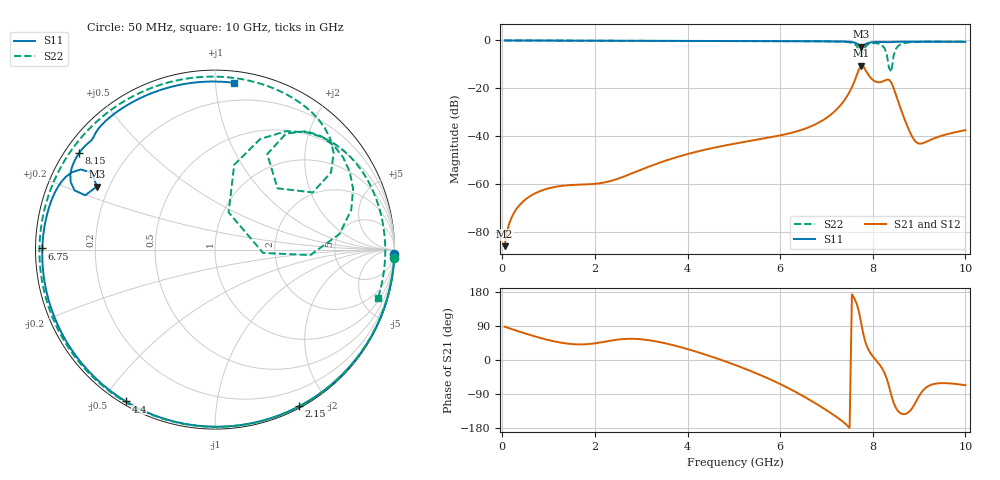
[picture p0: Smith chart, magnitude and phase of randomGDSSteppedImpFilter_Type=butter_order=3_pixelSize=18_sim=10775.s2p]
! freq	dB(S11)	phase(S11)	dB(S12)	phase(S12)
!  dB(S21)	phase(S21)	dB(S22)	phase(S22)
!S-par simulation data
#  GHz  S  DB  R 50
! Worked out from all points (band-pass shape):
!   200 points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, 50 MHz to 10 GHz, reference 50 ohm
!   highest |S21| = -10.48 dB at 7.75 GHz (marker M1); lowest = -86.0 dB at 50 MHz (marker M2)
!   |S21| within 3 dB of the highest: 7.674 GHz to 7.877 GHz (203.1 MHz wide, 2.61 % of centre)
!   lowest |S11| = -2.5 dB at 7.75 GHz (marker M3), VSWR 6.89, Z = 7.7 + j12.2 ohm
!   |S11| at or under -10 dB: nowhere
!   |S22| runs from -13.1 to 0.0 dB; largest |S21 - S12| = 0
!   S11 on the Smith chart (normalised r, x): 50 MHz: 0, -77; 2.15 GHz: 0.02, -1.67; 4.4 GHz: 0.01, -0.57; 6.75 GHz: 0.02, +0.00; 8.15 GHz: 0.04, +0.32; 10 GHz: 0.08, +1.12
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0.05  -0.00 -1.5  -85.96 87.9  -85.96 87.9  -0.00 -2.7
0.3  -0.01 -8.9  -70.57 77.7  -70.57 77.7  -0.02 -15.9
0.6  -0.02 -17.7  -65.06 66.1  -65.06 66.1  -0.04 -31.5
1.75  -0.06 -50.6  -60.20 41.2  -60.20 41.2  -0.10 -87.1
2.15  -0.08 -61.7  -59.53 47.0  -59.53 47.0  -0.12 -104.5
3.4  -0.12 -95.0  -51.07 47.2  -51.07 47.2  -0.16 -153.5
4.4  -0.17 -120.4  -45.55 13.7  -45.55 13.7  -0.20 170.8
5.05  -0.20 -136.7  -43.00 -14.1  -43.00 -14.1  -0.23 148.0
6.7  -0.33 -179.0  -35.59 -109.7  -35.59 -109.7  -0.33 87.1
6.75  -0.34 179.6  -35.15 -113.4  -35.15 -113.4  -0.33 85.0
7.25  -0.41 165.2  -28.21 -153.1  -28.21 -153.1  -0.45 63.0
7.6  -0.84 151.7  -17.28 163.3  -17.28 163.3  -1.39 39.1
7.75  -2.54 152.0  -10.48 97.6  -10.48 97.6  -6.24 44.5
7.9  -1.03 154.9  -14.23 28.7  -14.23 28.7  -1.58 52.4
8.15  -0.64 144.5  -17.47 -12.7  -17.47 -12.7  -1.51 23.8
8.25  -0.67 141.1  -16.84 -33.1  -16.84 -33.1  -3.10 7.2
8.35  -0.73 138.3  -16.41 -69.2  -16.41 -69.2  -11.41 -4.0
8.4  -0.70 137.2  -17.55 -92.5  -17.55 -92.5  -13.12 69.9
8.45  -0.63 135.8  -19.85 -112.6  -19.85 -112.6  -6.30 77.3
8.55  -0.55 132.4  -25.61 -135.4  -25.61 -135.4  -2.29 59.1
8.95  -0.52 119.0  -42.70 -105.9  -42.70 -105.9  -0.61 25.5
10  -0.58 83.4  -37.49 -66.5  -37.49 -66.5  -0.47 -16.6
